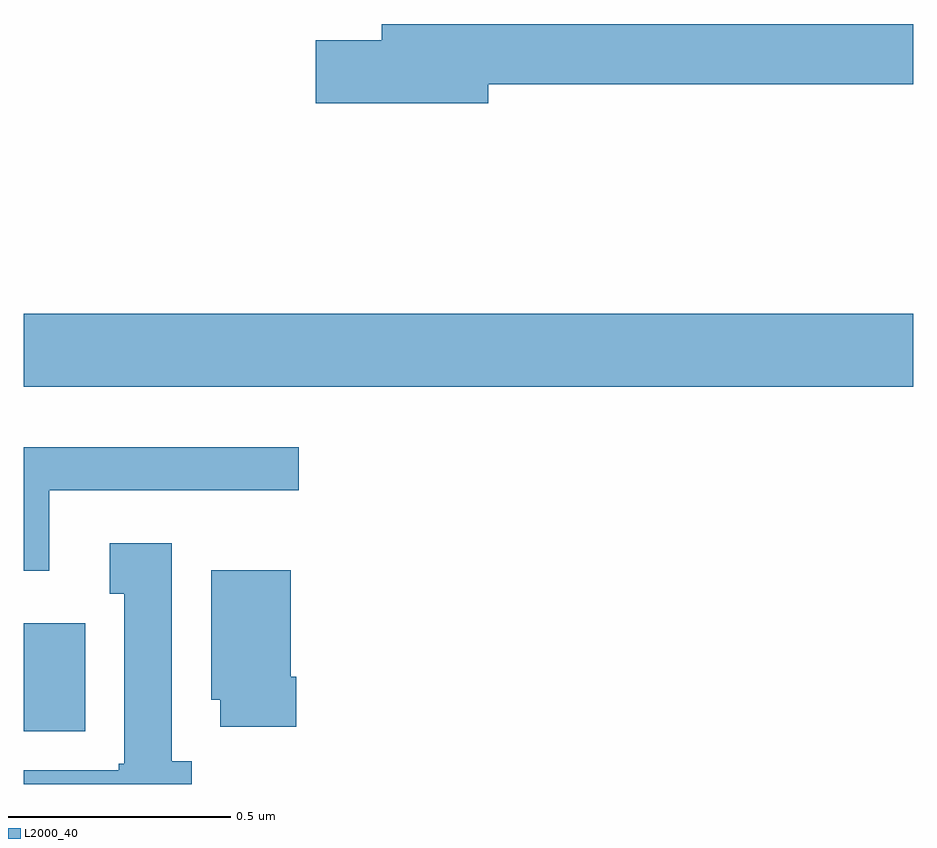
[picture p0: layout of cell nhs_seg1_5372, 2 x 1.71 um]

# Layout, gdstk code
import gdstk
lib = gdstk.Library(unit=1e-6, precision=1e-09)
def R(c, l, rs):  # rectangles x0, y0, x1, y1
    for r in rs: c.add(gdstk.rectangle(r[:2], r[2:], *l))
def P(c, l, *ps):  # polygons
    for p in ps: c.add(gdstk.Polygon(p, *l))
L2000_40 = (2000, 40)

nhs_seg1_5372 = lib.new_cell('nhs_seg1_5372')
R(nhs_seg1_5372, L2000_40, [(178,524.318,178.138,524.56), (178,525.092,180,525.256)])
P(nhs_seg1_5372, L2000_40, [(179.044,525.772),(180,525.772),(180,525.908),(178.805,525.908),(178.805,525.872),(178.656,525.872),(178.656,525.73),(179.044,525.73)],
  [(178.057,524.859),(178.618,524.859),(178.618,524.956),(178,524.956),(178,524.678),(178.057,524.678)],
  [(178.378,524.25),(178.333,524.25),(178.333,524.74),(178.193,524.74),(178.193,524.627),(178.226,524.627),(178.226,524.244),(178.213,524.244),(178.213,524.23),(178,524.23),(178,524.199),(178.378,524.199)],
  [(178.613,524.44),(178.6,524.44),(178.6,524.68),(178.421,524.68),(178.421,524.388),(178.442,524.388),(178.442,524.328),(178.613,524.328)])

lib.write_gds('nhs_seg1_5372.gds')
